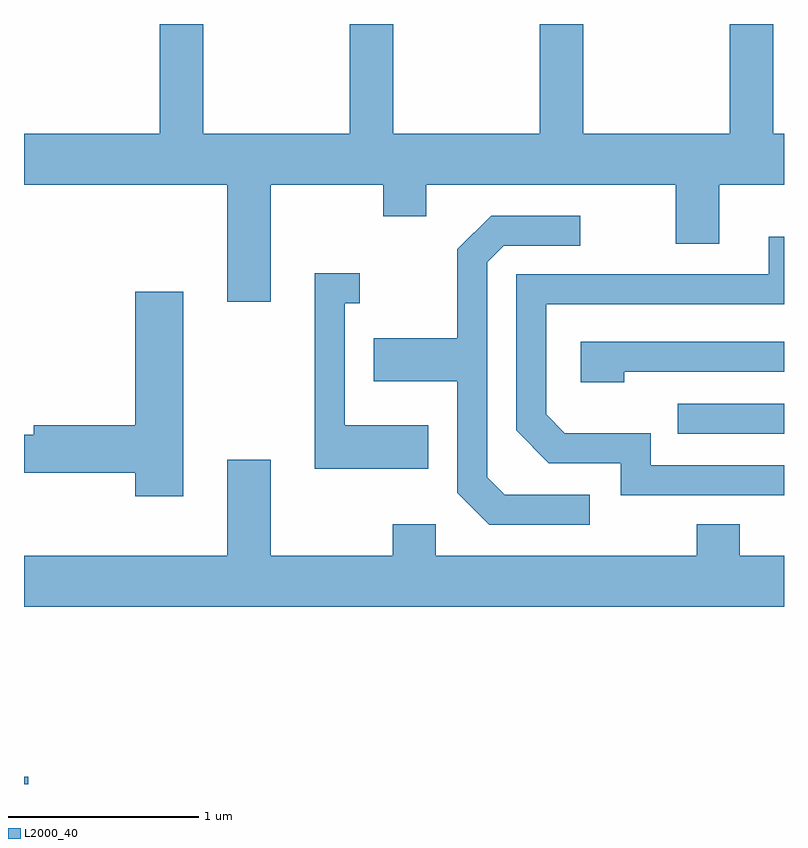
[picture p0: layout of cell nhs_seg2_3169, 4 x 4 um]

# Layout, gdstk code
import gdstk
lib = gdstk.Library(unit=1e-6, precision=1e-09)
def R(c, l, rs):  # rectangles x0, y0, x1, y1
    for r in rs: c.add(gdstk.rectangle(r[:2], r[2:], *l))
def P(c, l, *ps):  # polygons
    for p in ps: c.add(gdstk.Polygon(p, *l))
L2000_40 = (2000, 40)

nhs_seg2_3169 = lib.new_cell('nhs_seg2_3169')
R(nhs_seg2_3169, L2000_40, [(277.611,1071.802,277.634,1071.839), (281.053,1073.646,281.611,1073.804)])
P(nhs_seg2_3169, L2000_40, [(278.909,1074.956),(279.501,1074.956),(279.501,1074.791),(279.729,1074.791),(279.729,1074.956),(281.041,1074.956),(281.041,1074.646),(281.269,1074.646),(281.269,1074.956),(281.611,1074.956),(281.611,1075.224),(281.554,1075.224),(281.554,1075.802),(281.326,1075.802),(281.326,1075.224),(280.554,1075.224),(280.554,1075.802),(280.326,1075.802),(280.326,1075.224),(279.554,1075.224),(279.554,1075.802),(279.326,1075.802),(279.326,1075.224),(278.554,1075.224),(278.554,1075.802),(278.326,1075.802),(278.326,1075.224),(277.611,1075.224),(277.611,1074.956),(278.681,1074.956),(278.681,1074.341),(278.909,1074.341)],
  [(280.588,1073.324),(280.142,1073.324),(280.049,1073.417),(280.049,1074.549),(280.137,1074.636),(280.538,1074.636),(280.538,1074.794),(280.069,1074.794),(279.891,1074.617),(279.891,1074.149),(279.451,1074.149),(279.451,1073.921),(279.891,1073.921),(279.891,1073.334),(280.059,1073.166),(280.588,1073.166)],
  [(281.611,1073.479),(280.909,1073.479),(280.909,1073.649),(280.457,1073.649),(280.359,1073.747),(280.359,1074.326),(281.611,1074.326),(281.611,1074.683),(281.531,1074.683),(281.531,1074.484),(280.201,1074.484),(280.201,1073.664),(280.374,1073.491),(280.751,1073.491),(280.751,1073.321),(281.611,1073.321)],
  [(279.739,1073.689),(279.299,1073.689),(279.299,1074.331),(279.378,1074.331),(279.378,1074.489),(279.141,1074.489),(279.141,1073.461),(279.739,1073.461)],
  [(278.449,1074.394),(278.196,1074.394),(278.196,1073.689),(277.661,1073.689),(277.661,1073.639),(277.611,1073.639),(277.611,1073.441),(278.196,1073.441),(278.196,1073.316),(278.449,1073.316)],
  [(280.769,1073.971),(281.611,1073.971),(281.611,1074.129),(280.541,1074.129),(280.541,1073.916),(280.769,1073.916)],
  [(281.611,1073.004),(281.379,1073.004),(281.379,1073.169),(281.151,1073.169),(281.151,1073.004),(279.779,1073.004),(279.779,1073.169),(279.551,1073.169),(279.551,1073.004),(278.909,1073.004),(278.909,1073.509),(278.681,1073.509),(278.681,1073.004),(277.611,1073.004),(277.611,1072.736),(281.611,1072.736)])

lib.write_gds('nhs_seg2_3169.gds')
